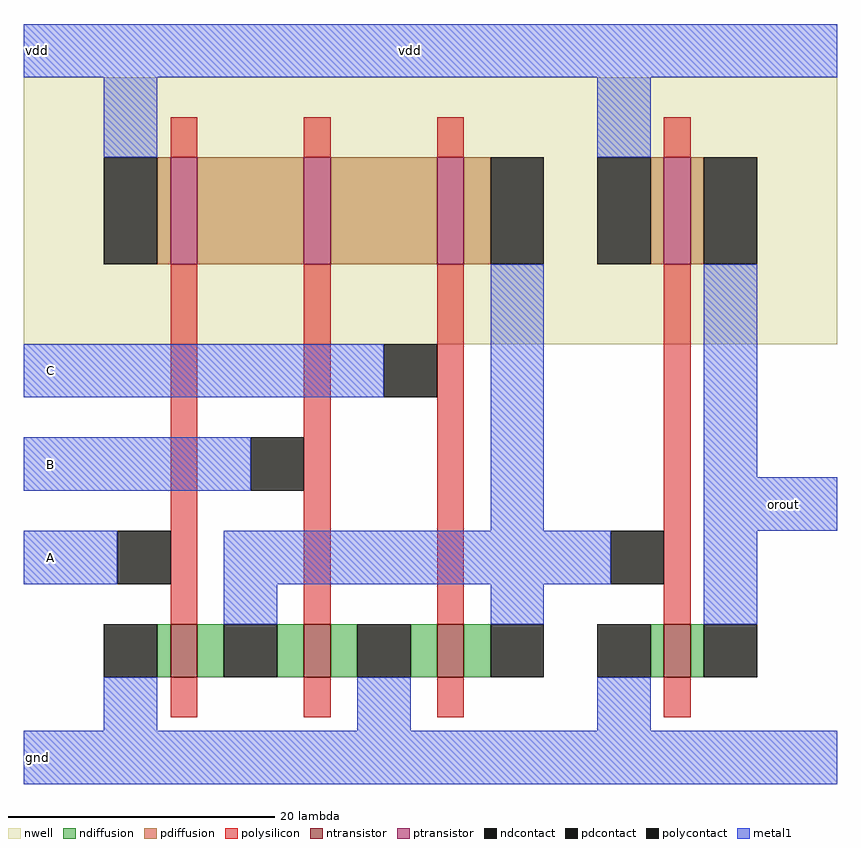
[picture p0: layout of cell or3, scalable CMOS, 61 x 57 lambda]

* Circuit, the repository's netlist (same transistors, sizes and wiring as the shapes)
* SPICE3 file created from or3.ext - technology: scmos

.include TSMC_180nm.txt
.param SUPPLY=1.8
.option scale=0.09u
.global vdd gnd

Vdd vdd gnd SUPPLY
Va A gnd pulse 0 1.8 0ns 0.1ns 0.1ns 9.9ns 20ns
Vb B gnd pulse 0 1.8 0ns 0.1ns 0.1ns 19.9ns 40ns
Vc C gnd pulse 0 1.8 0ns 0.1ns 0.1ns 39.9ns 80ns

M1000 a_13_n22# C a_23_9# w_0_3# CMOSP w=8 l=2
+  ad=48 pd=28 as=64 ps=32
M1001 orout a_13_n22# vdd w_0_3# CMOSP w=8 l=2
+  ad=40 pd=26 as=80 ps=52
M1002 a_23_9# B a_13_9# w_0_3# CMOSP w=8 l=2
+  ad=0 pd=0 as=64 ps=32
M1003 orout a_13_n22# gnd Gnd CMOSN w=4 l=2
+  ad=20 pd=18 as=72 ps=60
M1004 a_13_n22# C gnd Gnd CMOSN w=4 l=2
+  ad=56 pd=44 as=0 ps=0
M1005 a_13_9# A vdd w_0_3# CMOSP w=8 l=2
+  ad=0 pd=0 as=0 ps=0
M1006 gnd B a_13_n22# Gnd CMOSN w=4 l=2
+  ad=0 pd=0 as=0 ps=0
M1007 a_13_n22# A gnd Gnd CMOSN w=4 l=2
+  ad=0 pd=0 as=0 ps=0


.tran 10n 80ns

.control
run
plot v(A)
plot v(B)
plot v(C)
plot v(orout)

.endc
.end

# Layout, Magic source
magic
tech scmos
<< nwell >>
rect 0 3 61 23
<< ntransistor >>
rect 11 -22 13 -18
rect 21 -22 23 -18
rect 31 -22 33 -18
rect 48 -22 50 -18
<< ptransistor >>
rect 11 9 13 17
rect 21 9 23 17
rect 31 9 33 17
rect 48 9 50 17
<< ndiffusion >>
rect 10 -22 11 -18
rect 13 -22 15 -18
rect 19 -22 21 -18
rect 23 -22 25 -18
rect 29 -22 31 -18
rect 33 -22 35 -18
rect 47 -22 48 -18
rect 50 -22 51 -18
<< pdiffusion >>
rect 10 9 11 17
rect 13 9 21 17
rect 23 9 31 17
rect 33 9 35 17
rect 47 9 48 17
rect 50 9 51 17
<< ndcontact >>
rect 6 -22 10 -18
rect 15 -22 19 -18
rect 25 -22 29 -18
rect 35 -22 39 -18
rect 43 -22 47 -18
rect 51 -22 55 -18
<< pdcontact >>
rect 6 9 10 17
rect 35 9 39 17
rect 43 9 47 17
rect 51 9 55 17
<< polysilicon >>
rect 11 17 13 20
rect 21 17 23 20
rect 31 17 33 20
rect 48 17 50 20
rect 11 -18 13 9
rect 21 -18 23 9
rect 31 -18 33 9
rect 48 -18 50 9
rect 11 -25 13 -22
rect 21 -25 23 -22
rect 31 -25 33 -22
rect 48 -25 50 -22
<< polycontact >>
rect 7 -15 11 -11
rect 17 -8 21 -4
rect 27 -1 31 3
rect 44 -15 48 -11
<< metal1 >>
rect 0 23 61 27
rect 6 17 10 23
rect 43 17 47 23
rect 0 -1 27 3
rect 0 -8 17 -4
rect 35 -11 39 9
rect 51 -7 55 9
rect 51 -11 61 -7
rect 0 -15 7 -11
rect 15 -15 44 -11
rect 15 -18 19 -15
rect 35 -18 39 -15
rect 51 -18 55 -11
rect 6 -26 10 -22
rect 25 -26 29 -22
rect 43 -26 47 -22
rect 0 -30 61 -26
<< labels >>
rlabel metal1 1 25 1 25 4 vdd
rlabel metal1 29 25 29 25 4 vdd
rlabel metal1 1 -28 1 -28 2 gnd
rlabel metal1 57 -9 57 -9 7 orout
rlabel metal1 2 1 2 1 3 C
rlabel metal1 2 -6 2 -6 3 B
rlabel metal1 2 -13 2 -13 3 A
<< end >>
